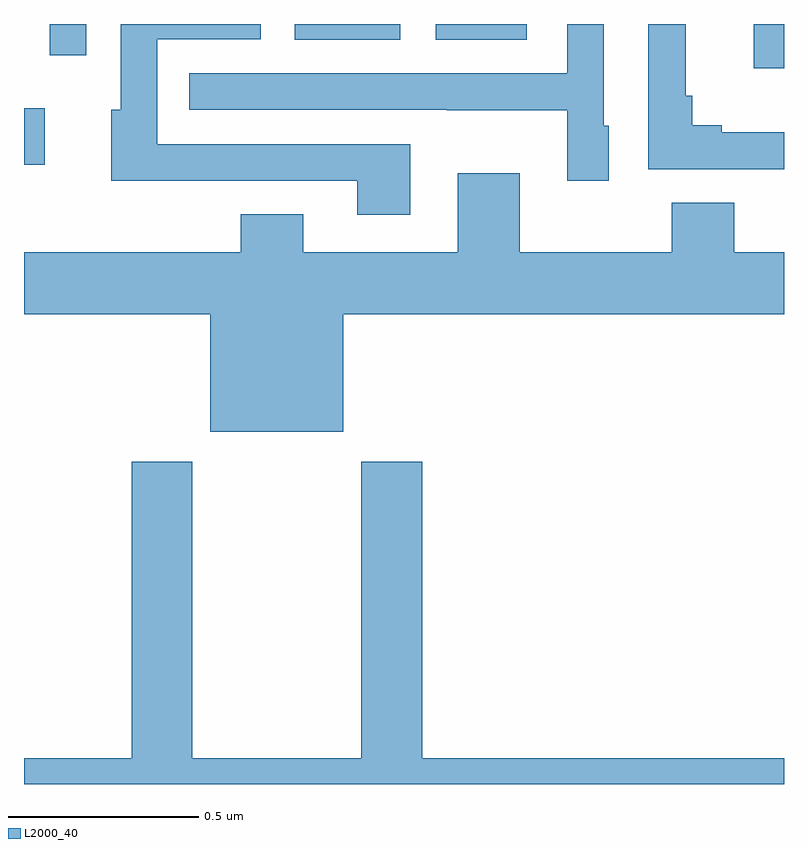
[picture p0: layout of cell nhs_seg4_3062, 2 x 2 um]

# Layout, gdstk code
import gdstk
lib = gdstk.Library(unit=1e-6, precision=1e-09)
def R(c, l, rs):  # rectangles x0, y0, x1, y1
    for r in rs: c.add(gdstk.rectangle(r[:2], r[2:], *l))
def P(c, l, *ps):  # polygons
    for p in ps: c.add(gdstk.Polygon(p, *l))
L2000_40 = (2000, 40)

nhs_seg4_3062 = lib.new_cell('nhs_seg4_3062')
R(nhs_seg4_3062, L2000_40, [(148,814.53,148.054,814.678), (149.921,814.784,150,814.9), (148.068,814.818,148.164,814.9), (148.712,814.859,148.99,814.9), (149.084,814.859,149.323,814.9)])
P(nhs_seg4_3062, L2000_40, [(150,814.615),(149.836,814.615),(149.836,814.634),(149.759,814.634),(149.759,814.711),(149.741,814.711),(149.741,814.9),(149.643,814.9),(149.643,814.518),(150,814.518)],
  [(149.539,814.632),(149.526,814.632),(149.526,814.9),(149.43,814.9),(149.43,814.77),(148.435,814.77),(148.435,814.674),(149.113,814.674),(149.113,814.673),(149.43,814.673),(149.43,814.488),(149.539,814.488)],
  [(149.017,814.584),(148.35,814.584),(148.35,814.86),(148.623,814.86),(148.623,814.9),(148.254,814.9),(148.254,814.674),(148.229,814.674),(148.229,814.487),(148.447,814.487),(148.447,814.488),(148.877,814.488),(148.877,814.398),(149.017,814.398)],
  [(148.735,814.399),(148.571,814.399),(148.571,814.3),(148,814.3),(148,814.136),(148.49,814.136),(148.49,813.827),(148.84,813.827),(148.84,814.136),(150,814.136),(150,814.3),(149.869,814.3),(149.869,814.429),(149.705,814.429),(149.705,814.3),(149.305,814.3),(149.305,814.507),(149.141,814.507),(149.141,814.3),(148.735,814.3)],
  [(150,812.968),(149.048,812.968),(149.048,813.748),(148.888,813.748),(148.888,812.968),(148.443,812.968),(148.443,813.748),(148.283,813.748),(148.283,812.968),(148,812.968),(148,812.9),(150,812.9)])

lib.write_gds('nhs_seg4_3062.gds')
